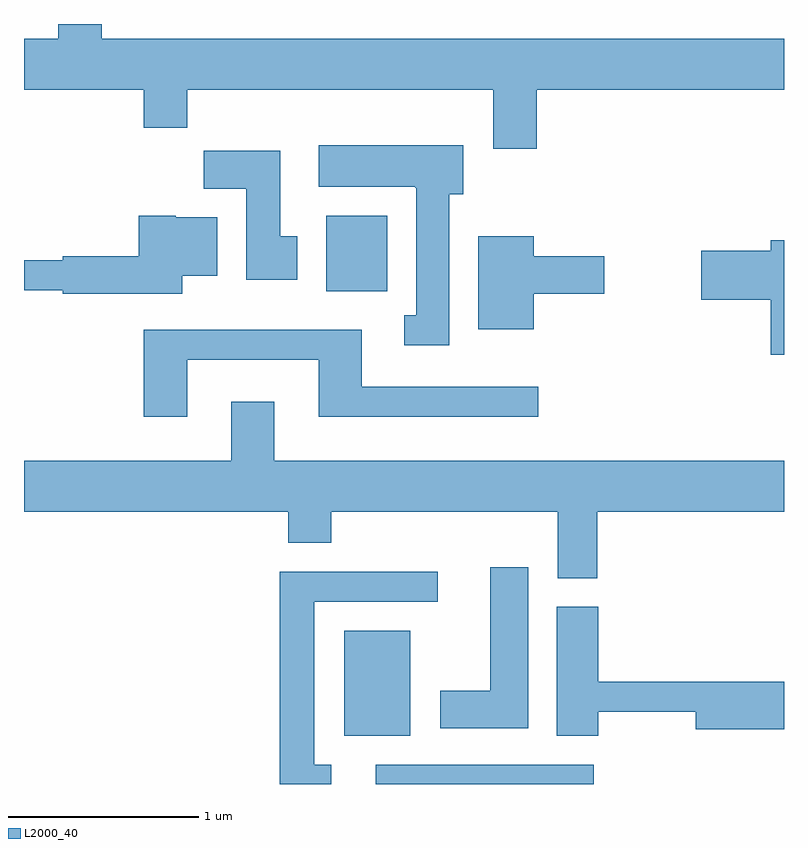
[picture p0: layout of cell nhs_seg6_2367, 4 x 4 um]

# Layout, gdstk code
import gdstk
lib = gdstk.Library(unit=1e-6, precision=1e-09)
def R(c, l, rs):  # rectangles x0, y0, x1, y1
    for r in rs: c.add(gdstk.rectangle(r[:2], r[2:], *l))
def P(c, l, *ps):  # polygons
    for p in ps: c.add(gdstk.Polygon(p, *l))
L2000_40 = (2000, 40)

nhs_seg6_2367 = lib.new_cell('nhs_seg6_2367')
R(nhs_seg6_2367, L2000_40, [(259.461,1544.162,260.609,1544.264), (259.296,1544.416,259.644,1544.969), (259.201,1546.756,259.524,1547.154)])
P(nhs_seg6_2367, L2000_40, [(260.309,1547.816),(261.611,1547.816),(261.611,1548.084),(258.019,1548.084),(258.019,1548.162),(257.791,1548.162),(257.791,1548.084),(257.611,1548.084),(257.611,1547.816),(258.241,1547.816),(258.241,1547.616),(258.469,1547.616),(258.469,1547.816),(260.081,1547.816),(260.081,1547.506),(260.309,1547.506)],
  [(259.849,1547.266),(259.924,1547.266),(259.924,1547.524),(259.161,1547.524),(259.161,1547.306),(259.67,1547.306),(259.67,1547.3),(259.676,1547.3),(259.676,1546.629),(259.613,1546.629),(259.613,1546.471),(259.849,1546.471)],
  [(259.049,1547.044),(258.959,1547.044),(258.959,1547.494),(258.556,1547.494),(258.556,1547.296),(258.781,1547.296),(258.781,1546.816),(259.049,1546.816)],
  [(258.444,1546.836),(258.629,1546.836),(258.629,1547.144),(258.41,1547.144),(258.41,1547.154),(258.216,1547.154),(258.216,1546.939),(257.816,1546.939),(257.816,1546.919),(257.611,1546.919),(257.611,1546.761),(257.816,1546.761),(257.816,1546.741),(258.444,1546.741)],
  [(260.294,1546.741),(260.664,1546.741),(260.664,1546.939),(260.294,1546.939),(260.294,1547.044),(260.001,1547.044),(260.001,1546.556),(260.294,1546.556)],
  [(261.611,1547.024),(261.541,1547.024),(261.541,1546.969),(261.176,1546.969),(261.176,1546.711),(261.541,1546.711),(261.541,1546.421),(261.611,1546.421)],
  [(258.469,1546.396),(259.161,1546.396),(259.161,1546.096),(260.318,1546.096),(260.318,1546.254),(259.389,1546.254),(259.389,1546.554),(258.241,1546.554),(258.241,1546.096),(258.469,1546.096)],
  [(260.629,1545.596),(261.611,1545.596),(261.611,1545.864),(258.929,1545.864),(258.929,1546.174),(258.701,1546.174),(258.701,1545.864),(257.611,1545.864),(257.611,1545.596),(259.001,1545.596),(259.001,1545.431),(259.229,1545.431),(259.229,1545.596),(260.421,1545.596),(260.421,1545.246),(260.629,1545.246)],
  [(260.264,1545.304),(260.066,1545.304),(260.066,1544.654),(259.801,1544.654),(259.801,1544.456),(260.264,1544.456)],
  [(259.229,1544.264),(259.139,1544.264),(259.139,1545.121),(259.788,1545.121),(259.788,1545.279),(258.956,1545.279),(258.956,1544.162),(259.229,1544.162)],
  [(260.634,1544.541),(261.146,1544.541),(261.146,1544.451),(261.611,1544.451),(261.611,1544.699),(260.634,1544.699),(260.634,1545.094),(260.416,1545.094),(260.416,1544.416),(260.634,1544.416)])

lib.write_gds('nhs_seg6_2367.gds')
